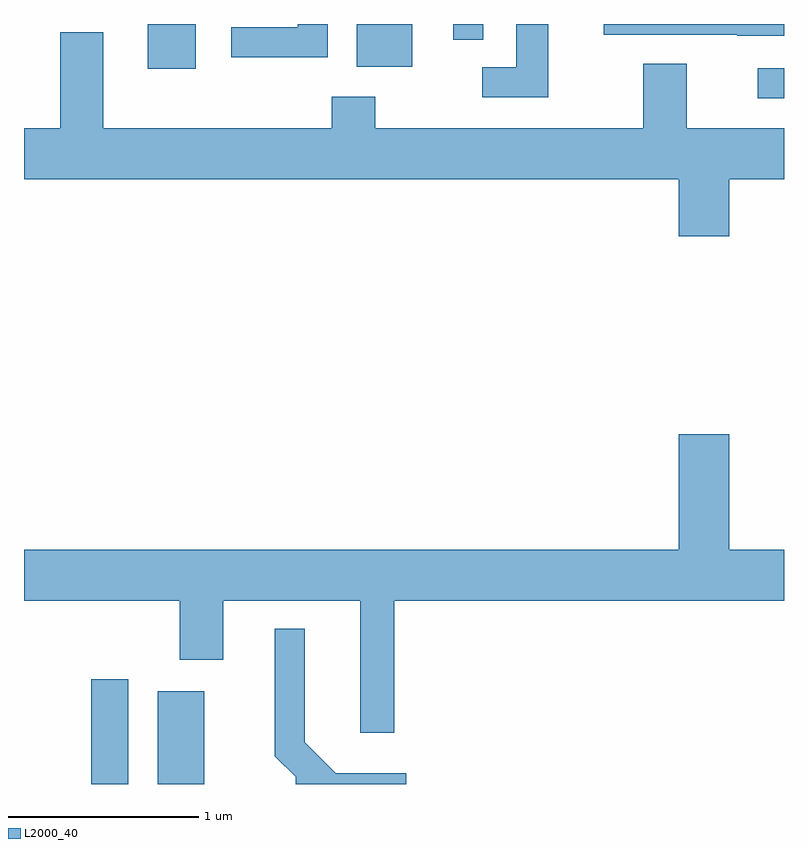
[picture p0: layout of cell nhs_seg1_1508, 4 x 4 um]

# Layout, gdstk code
import gdstk
lib = gdstk.Library(unit=1e-6, precision=1e-09)
def R(c, l, rs):  # rectangles x0, y0, x1, y1
    for r in rs: c.add(gdstk.rectangle(r[:2], r[2:], *l))
def P(c, l, *ps):  # polygons
    for p in ps: c.add(gdstk.Polygon(p, *l))
L2000_40 = (2000, 40)

nhs_seg1_1508 = lib.new_cell('nhs_seg1_1508')
R(nhs_seg1_1508, L2000_40, [(231.966,909.712,232.159,910.264), (232.316,909.712,232.559,910.199), (235.473,913.321,235.611,913.479), (232.261,913.476,232.514,913.712), (233.361,913.486,233.654,913.712), (233.871,913.628,234.029,913.712)])
P(nhs_seg1_1508, L2000_40, [(234.369,913.712),(234.201,913.712),(234.201,913.484),(234.023,913.484),(234.023,913.326),(234.369,913.326)],
  [(233.209,913.712),(233.051,913.712),(233.051,913.694),(232.703,913.694),(232.703,913.536),(233.209,913.536)],
  [(235.611,913.712),(234.661,913.712),(234.661,913.656),(235.365,913.656),(235.365,913.651),(235.611,913.651)],
  [(235.324,912.896),(235.611,912.896),(235.611,913.164),(235.099,913.164),(235.099,913.504),(234.871,913.504),(234.871,913.164),(233.459,913.164),(233.459,913.329),(233.231,913.329),(233.231,913.164),(232.029,913.164),(232.029,913.669),(231.801,913.669),(231.801,913.164),(231.611,913.164),(231.611,912.896),(235.056,912.896),(235.056,912.596),(235.324,912.596)],
  [(233.559,910.676),(235.611,910.676),(235.611,910.944),(235.324,910.944),(235.324,911.554),(235.056,911.554),(235.056,910.944),(231.611,910.944),(231.611,910.676),(232.431,910.676),(232.431,910.366),(232.659,910.366),(232.659,910.676),(233.381,910.676),(233.381,909.981),(233.559,909.981)],
  [(233.624,909.769),(233.252,909.769),(233.089,909.932),(233.089,910.528),(232.931,910.528),(232.931,909.859),(233.041,909.749),(233.041,909.712),(233.624,909.712)])

lib.write_gds('nhs_seg1_1508.gds')
